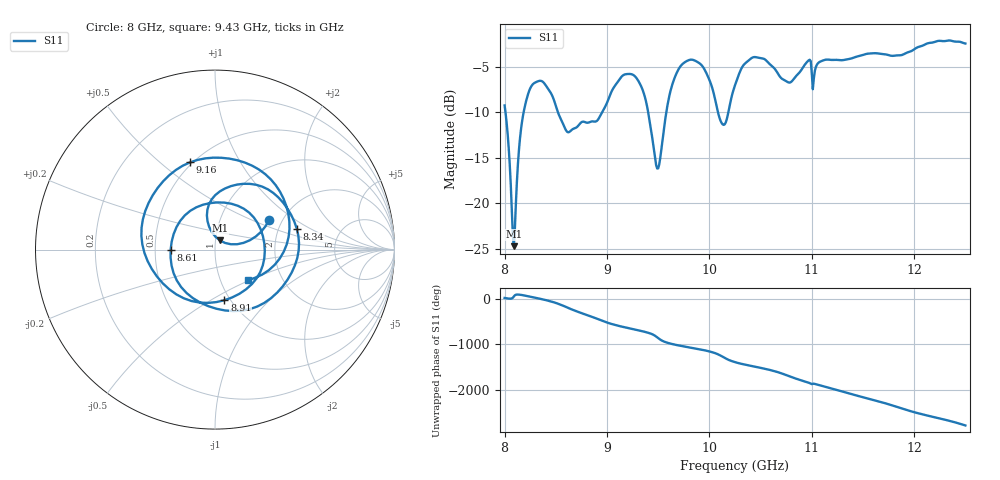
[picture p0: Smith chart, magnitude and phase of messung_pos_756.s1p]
#  HZ  S  RI  R  50.00
! Rohde & Schwarz Vector Network Analyzer
! Rohde-Schwarz,ZNA43-4Port,1332450044101932,2.92
! Created: UTC 6/1/2026, 11:33:52 AM
! freq[Hz]  re:S11  im:S11
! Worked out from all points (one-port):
!   451 points, 8 GHz to 12.5 GHz, reference 50 ohm
!   lowest |S11| = -24.7 dB at 8.09 GHz (marker M1), VSWR 1.12, Z = 52.5 + j5.41 ohm
!   |S11| at or under -10 dB: 8.009 GHz to 8.186 GHz (177.4 MHz wide, 2.19 % of centre); 8.521 GHz to 8.952 GHz (431.1 MHz wide, 4.93 % of centre); 9.402 GHz to 9.579 GHz (177.1 MHz wide, 1.87 % of centre)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
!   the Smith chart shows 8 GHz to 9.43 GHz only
!   S11 on the Smith chart (normalised r, x): 8 GHz: 1.71, +0.65; 8.34 GHz: 2.52, +0.75; 8.61 GHz: 0.60, +0.00; 8.91 GHz: 0.94, -0.58; 9.16 GHz: 0.49, +0.63; 9.43 GHz: 1.35, -0.49
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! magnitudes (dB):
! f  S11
! 8 GHz  -9.3
! 8.03 GHz  -12.4
! 8.07 GHz  -20.6
! 8.09 GHz  -24.7
! 8.15 GHz  -12.9
! 8.18 GHz  -10.4
! 8.25 GHz  -7.4
! 8.34 GHz  -6.6
! 8.57 GHz  -11.3
! 8.61 GHz  -12.1
! 8.91 GHz  -10.8
! 9.13 GHz  -6.3
! 9.16 GHz  -5.9
! 9.32 GHz  -6.8
! 9.43 GHz  -12.0
! 9.5 GHz  -16.2
! 9.6 GHz  -8.7
! 9.69 GHz  -5.5
! 9.92 GHz  -4.8
! 10.13 GHz  -11.3
! 10.25 GHz  -7.0
! 10.44 GHz  -3.9
! 10.82 GHz  -6.4
! 10.97 GHz  -4.3
! 11.02 GHz  -6.3
! 11.38 GHz  -4.1
! 11.94 GHz  -3.4
! 12.5 GHz  -2.5
